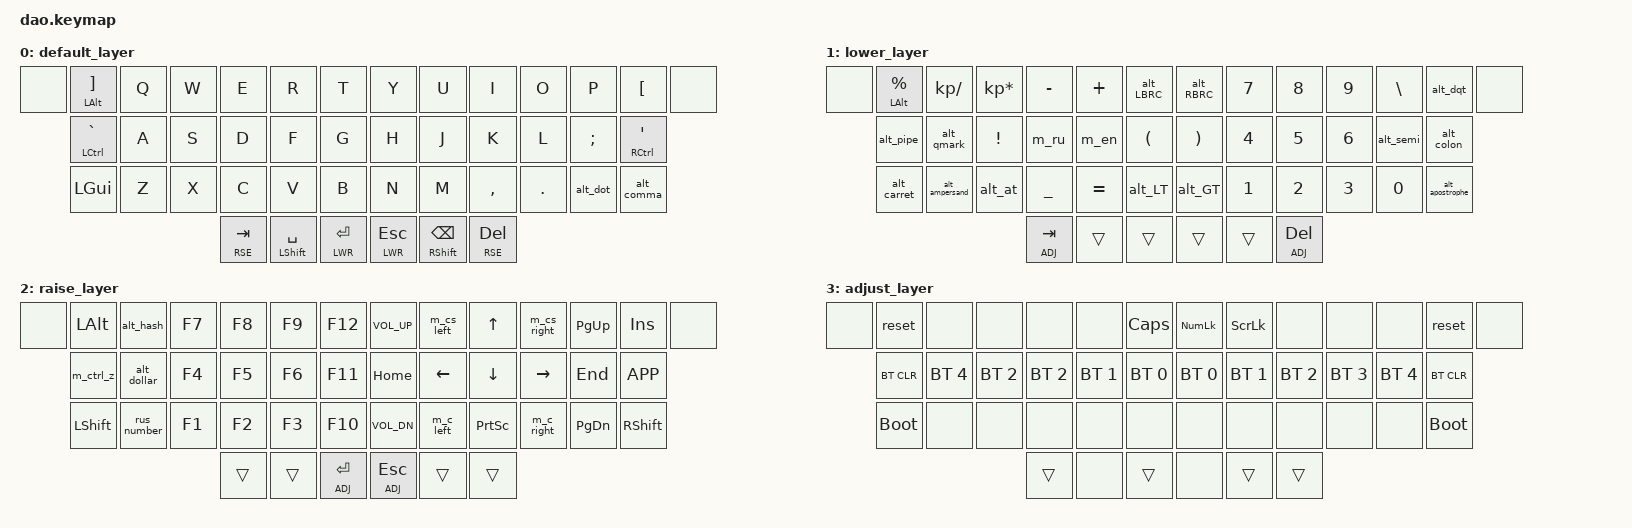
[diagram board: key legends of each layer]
/*
 * Copyright (c) 2021 Rafael Yumagulov
 *
 * SPDX-License-Identifier: MIT
 */

#include <behaviors.dtsi>
#include <dt-bindings/zmk/keys.h>
#include <dt-bindings/zmk/bt.h>

#define DEF 0
#define LWR 1
#define RSE 2
#define ADJ 3

&lt { quick_tap_ms = <200>; };
&mt { quick_tap_ms = <200>; };

/ {
        macros {
                ZMK_MACRO(alt_LBRC,
                        wait-ms = <20>;
                        tap-ms = <20>;
                        bindings = <&macro_press &kp LALT>
                        , <&macro_tap &kp KP_N1 &kp KP_N2 &kp KP_N3>
                        , <&macro_release &kp LALT>;
                )
                ZMK_MACRO(alt_RBRC,
                        wait-ms = <20>;
                        tap-ms = <20>;
                        bindings = <&macro_press &kp LALT>
                        , <&macro_tap &kp KP_N1 &kp KP_N2 &kp KP_N5>
                        , <&macro_release &kp LALT>;
                )
                ZMK_MACRO(alt_LT,
                        wait-ms = <20>;
                        tap-ms = <20>;
                        bindings = <&macro_press &kp LALT>
                        , <&macro_tap &kp KP_N6 &kp KP_N0>
                        , <&macro_release &kp LALT>;
                )
                ZMK_MACRO(alt_GT,
                        wait-ms = <20>;
                        tap-ms = <20>;
                        bindings = <&macro_press &kp LALT>
                        , <&macro_tap &kp KP_N6 &kp KP_N2>
                        , <&macro_release &kp LALT>;
                )
                ZMK_MACRO(alt_comma,
                        wait-ms = <20>;
                        tap-ms = <20>;
                        bindings = <&macro_press &kp LALT>
                        , <&macro_tap &kp KP_N4 &kp KP_N4>
                        , <&macro_release &kp LALT>;
                )
                ZMK_MACRO(alt_dot,
                        wait-ms = <20>;
                        tap-ms = <20>;
                        bindings = <&macro_press &kp LALT>
                        , <&macro_tap &kp KP_N4 &kp KP_N6>
                        , <&macro_release &kp LALT>;
                )
                ZMK_MACRO(alt_slash,
                        wait-ms = <20>;
                        tap-ms = <20>;
                        bindings = <&macro_press &kp LALT>
                        , <&macro_tap &kp KP_N4 &kp KP_N7>
                        , <&macro_release &kp LALT>;
                )
                ZMK_MACRO(alt_qmark,
                        wait-ms = <20>;
                        tap-ms = <20>;
                        bindings = <&macro_press &kp LALT>
                        , <&macro_tap &kp KP_N6 &kp KP_N3>
                        , <&macro_release &kp LALT>;
                )
                ZMK_MACRO(alt_at,
                        wait-ms = <20>;
                        tap-ms = <20>;
                        bindings = <&macro_press &kp LALT>
                        , <&macro_tap &kp KP_N6 &kp KP_N4>
                        , <&macro_release &kp LALT>;
                )
                ZMK_MACRO(alt_semi,
                        wait-ms = <20>;
                        tap-ms = <20>;
                        bindings = <&macro_press &kp LALT>
                        , <&macro_tap &kp KP_N5 &kp KP_N9>
                        , <&macro_release &kp LALT>;
                )
                ZMK_MACRO(alt_colon,
                        wait-ms = <20>;
                        tap-ms = <20>;
                        bindings = <&macro_press &kp LALT>
                        , <&macro_tap &kp KP_N5 &kp KP_N8>
                        , <&macro_release &kp LALT>;
                )
                ZMK_MACRO(alt_dqt,
                        wait-ms = <20>;
                        tap-ms = <20>;
                        bindings = <&macro_press &kp LALT>
                        , <&macro_tap &kp KP_N3 &kp KP_N4>
                        , <&macro_release &kp LALT>;
                )
                ZMK_MACRO(alt_apostrophe,
                        wait-ms = <20>;
                        tap-ms = <20>;
                        bindings = <&macro_press &kp LALT>
                        , <&macro_tap &kp KP_N3 &kp KP_N9>
                        , <&macro_release &kp LALT>;
                )
                ZMK_MACRO(alt_pipe,
                        wait-ms = <20>;
                        tap-ms = <20>;
                        bindings = <&macro_press &kp LALT>
                        , <&macro_tap &kp KP_N1 &kp KP_N2 &kp KP_N4>
                        , <&macro_release &kp LALT>;
                )
                ZMK_MACRO(alt_carret,
                        wait-ms = <20>;
                        tap-ms = <20>;
                        bindings = <&macro_press &kp LALT>
                        , <&macro_tap &kp KP_N9 &kp KP_N4>
                        , <&macro_release &kp LALT>;
                )
                ZMK_MACRO(alt_dollar,
                        wait-ms = <20>;
                        tap-ms = <20>;
                        bindings = <&macro_press &kp LALT>
                        , <&macro_tap &kp KP_N3 &kp KP_N6>
                        , <&macro_release &kp LALT>;
                )
                ZMK_MACRO(alt_hash,
                        wait-ms = <20>;
                        tap-ms = <20>;
                        bindings = <&macro_press &kp LALT>
                        , <&macro_tap &kp KP_N3 &kp KP_N5>
                        , <&macro_release &kp LALT>;
                )
                ZMK_MACRO(alt_star,
                        wait-ms = <20>;
                        tap-ms = <20>;
                        bindings = <&macro_press &kp LALT>
                        , <&macro_tap &kp KP_N4 &kp KP_N2>
                        , <&macro_release &kp LALT>;
                )
                ZMK_MACRO(alt_ampersand,
                        wait-ms = <20>;
                        tap-ms = <20>;
                        bindings = <&macro_press &kp LALT>
                        , <&macro_tap &kp KP_N3 &kp KP_N8>
                        , <&macro_release &kp LALT>;
                )
                ZMK_MACRO(rus_number,
                        wait-ms = <20>;
                        tap-ms = <20>;
                        bindings = <&macro_press &kp LALT>
                        , <&macro_tap &kp KP_N2 &kp KP_N5 &kp KP_N2>
                        , <&macro_release &kp LALT>;
                )
                ZMK_MACRO(m_en,
                        wait-ms = <20>;
                        tap-ms = <20>;
                        bindings = <&macro_press &kp LALT &kp LSHFT>
                        , <&macro_tap &kp N1>
                        , <&macro_release &kp LALT &kp LSHFT>;
                )
                ZMK_MACRO(m_ru,
                        wait-ms = <20>;
                        tap-ms = <20>;
                        bindings = <&macro_press &kp LALT &kp LSHFT>
                        , <&macro_tap &kp N2>
                        , <&macro_release &kp LALT &kp LSHFT>;
                )
                ZMK_MACRO(m_c_left,
                        wait-ms = <20>;
                        tap-ms = <20>;
                        bindings = <&macro_press &kp LCTRL>
                        , <&macro_tap &kp LEFT>
                        , <&macro_release &kp LCTRL>;
                )
                ZMK_MACRO(m_c_right,
                        wait-ms = <20>;
                        tap-ms = <20>;
                        bindings = <&macro_press &kp LCTRL>
                        , <&macro_tap &kp RIGHT>
                        , <&macro_release &kp LCTRL>;
                )
                ZMK_MACRO(m_cs_left,
                        wait-ms = <20>;
                        tap-ms = <20>;
                        bindings = <&macro_press &kp LCTRL &kp LSHFT>
                        , <&macro_tap &kp LEFT>
                        , <&macro_release &kp LCTRL &kp LSHFT>;
                )
                ZMK_MACRO(m_cs_right,
                        wait-ms = <20>;
                        tap-ms = <20>;
                        bindings = <&macro_press &kp LCTRL &kp LSHFT>
                        , <&macro_tap &kp RIGHT>
                        , <&macro_release &kp LCTRL &kp LSHFT>;
                )
                ZMK_MACRO(m_ctrl_z,
                        wait-ms = <20>;
                        tap-ms = <20>;
                        bindings = <&macro_press &kp LCTRL>
                        , <&macro_tap &kp Z>
                        , <&macro_release &kp LCTRL>;
                )
        };

        keymap {
                compatible = "zmk,keymap";

                default_layer {
                        bindings = <
  &none   &mt LALT  RBKT     &kp Q   &kp W   &kp E         &kp R             &kp T         &kp Y         &kp U            &kp I         &kp O     &kp P       &kp LBKT        &none
          &mt LCTRL GRAVE    &kp A   &kp S   &kp D         &kp F             &kp G         &kp H         &kp J            &kp K         &kp L     &kp SEMI    &mt RCTRL SQT
          &kp LGUI           &kp Z   &kp X   &kp C         &kp V             &kp B         &kp N         &kp M            &kp COMMA     &kp DOT   &alt_dot    &alt_comma
                                             &lt RSE TAB   &mt LSHFT SPACE   &lt LWR RET   &lt LWR ESC   &mt RSHFT BSPC   &lt RSE DEL
                        >;
                };
                lower_layer {
                        bindings = <
  &none   &mt LALT PERCENT     &kp KP_SLASH    &kp KP_ASTERISK  &kp MINUS      &kp PLUS      &alt_LBRC    &alt_RBRC  &kp N7     &kp N8        &kp N9     &kp BSLH      &alt_dqt           &none
          &alt_pipe            &alt_qmark      &kp EXCL         &m_ru          &m_en         &kp LPAR     &kp RPAR   &kp N4     &kp N5        &kp N6     &alt_semi     &alt_colon
          &alt_carret          &alt_ampersand  &alt_at          &kp UNDER      &kp EQUAL     &alt_LT      &alt_GT    &kp N1     &kp N2        &kp N3     &kp N0        &alt_apostrophe
                                                                &lt ADJ TAB    &trans        &trans       &trans     &trans     &lt ADJ DEL
                        >;
                };

                raise_layer {
                        bindings = <
  &none   &kp LALT     &alt_hash    &kp F7   &kp F8   &kp F9   &kp F12      &kp C_VOL_UP   &m_cs_left  &kp UP       &m_cs_right  &kp PG_UP   &kp INS     &none
          &m_ctrl_z    &alt_dollar  &kp F4   &kp F5   &kp F6   &kp F11      &kp HOME       &kp LEFT    &kp DOWN     &kp RIGHT    &kp END     &kp K_APP
          &kp LSHFT    &rus_number  &kp F1   &kp F2   &kp F3   &kp F10      &kp C_VOL_DN   &m_c_left   &kp PSCRN    &m_c_right   &kp PG_DN   &kp RSHFT
                                             &trans   &trans   &lt ADJ RET  &lt ADJ ESC    &trans      &trans
                        >;
                };
                adjust_layer {
                        bindings = <
  &none   &reset        &none          &none          &none          &none          &kp CAPS       &kp KP_NUM     &kp SLCK       &none          &none          &none          &reset            &none
          &bt BT_CLR    &bt BT_SEL 4   &bt BT_SEL 2   &bt BT_SEL 2   &bt BT_SEL 1   &bt BT_SEL 0   &bt BT_SEL 0   &bt BT_SEL 1   &bt BT_SEL 2   &bt BT_SEL 3   &bt BT_SEL 4   &bt BT_CLR
          &bootloader   &none          &none          &none          &none          &none          &none          &none          &none          &none          &none          &bootloader
                                                      &trans         &none          &trans         &none          &trans         &trans
                        >;
                };
        };
};
